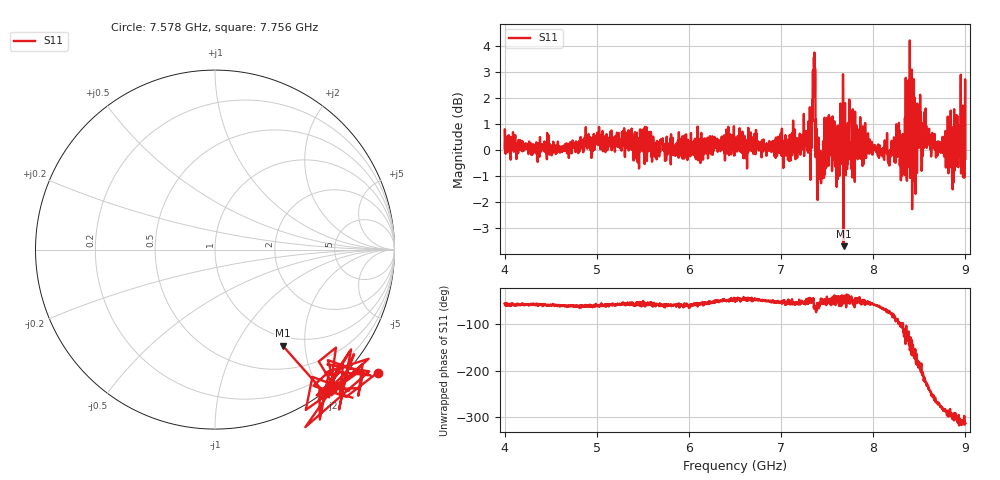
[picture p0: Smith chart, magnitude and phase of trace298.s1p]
! Created with skrf 1.8.0 (http://scikit-rf.org).
# Hz S RI R 50.0
!freq ReS11 ImS11
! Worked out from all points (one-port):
!   1601 points, 4 GHz to 9 GHz, reference 50 ohm
!   lowest |S11| = -3.7 dB at 7.678 GHz (marker M1), VSWR 4.79, Z = 42.4 - j79.4 ohm
!   |S11| at or under -10 dB: nowhere
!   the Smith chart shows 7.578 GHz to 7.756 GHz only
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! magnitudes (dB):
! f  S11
! 4 GHz  0.1
! 4.625 GHz  -0.1
! 5.25 GHz  0.1
! 5.875 GHz  0.2
! 6.5 GHz  0.0
! 7.125 GHz  0.7
! 7.297 GHz  1.1
! 7.316 GHz  0.2
! 7.347 GHz  3.1
! 7.369 GHz  3.1
! 7.4 GHz  0.3
! 7.416 GHz  -1.1
! 7.538 GHz  0.8
! 7.609 GHz  0.3
! 7.65 GHz  1.4
! 7.678 GHz  -3.7
! 7.703 GHz  0.8
! 7.75 GHz  0.3
! 8.178 GHz  -0.2
! 8.259 GHz  0.8
! 8.316 GHz  -0.5
! 8.375 GHz  0.0
! 8.394 GHz  -0.7
! 8.447 GHz  2.0
! 8.497 GHz  0.3
! 8.875 GHz  -0.1
! 8.972 GHz  0.6
! 9 GHz  -0.3
